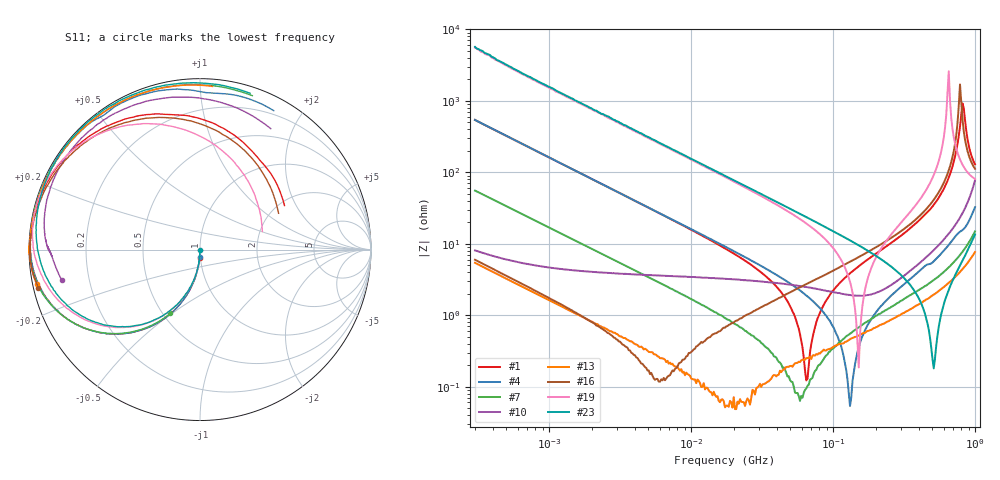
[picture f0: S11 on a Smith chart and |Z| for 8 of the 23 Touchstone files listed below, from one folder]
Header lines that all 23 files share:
#  HZ  S  RI  R  50
! Rohde & Schwarz ZVA/B
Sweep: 300 kHz to 1 GHz
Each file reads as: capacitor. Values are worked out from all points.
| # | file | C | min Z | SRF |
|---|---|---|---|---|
| 1 | p1_1.s2p | 989 pF | 122 mohm | 65.24 MHz |
| 2 | p1_2.s2p | 993 pF | 85.5 mohm | 80.86 MHz |
| 3 | p1_3.s2p | 994 pF | 73.7 mohm | 108.4 MHz |
| 4 | p1_4.s2p | 986 pF | 53.5 mohm | 131.7 MHz |
| 5 | p1_5.s2p | 993 pF | 62.6 mohm | 188.9 MHz |
| 6 | p1_6.s2p | 90.4 nF | 13.4 mohm | 18.4 MHz |
| 7 | p1_7.s2p | 9.56 nF | 63.1 mohm | 58.97 MHz |
| 8 | p1_8.s2p | 1.01 nF | 63.2 mohm | 182.1 MHz |
| 9 | p1_9.s2p | 96.7 pF | 182 mohm | 532.1 MHz |
| 10 | p2_1.s2p | 77.8 nF | 1.87 ohm | 92.21 MHz |
| 11 | p2_2.s2p | 87.2 nF | 1.06 ohm | 65.41 MHz |
| 12 | p2_3.s2p | 90.1 nF | 1.7 mohm | 18.36 MHz |
| 13 | p2_4.s2p | 98.4 nF | 48.5 mohm | 19.08 MHz |
| 14 | p2_5.s2p | 86.8 nF | 171 mohm | 17.86 MHz |
| 15 | p2_6.s2p | 92.8 nF | 9.95 mohm | 20.72 MHz |
| 16 | p3_1.s2p | 89 nF | 117 mohm | 6.188 MHz |
| 17 | p3_2.s2p | 9.52 nF | 121 mohm | 20.37 MHz |
| 18 | p3_3.s2p | 948 pF | 592 mohm | 61.67 MHz |
| 19 | p3_4.s2p | 100 pF | 186 mohm | 151.3 MHz |
| 20 | p3_5.s2p | 89.9 nF | 12.6 mohm | 16.57 MHz |
| 21 | p3_6.s2p | 9.59 nF | 72.1 mohm | 55.55 MHz |
| 22 | p3_7.s2p | 989 pF | 64.7 mohm | 189.4 MHz |
| 23 | p3_8.s2p | 97.6 pF | 180 mohm | 512.2 MHz |
